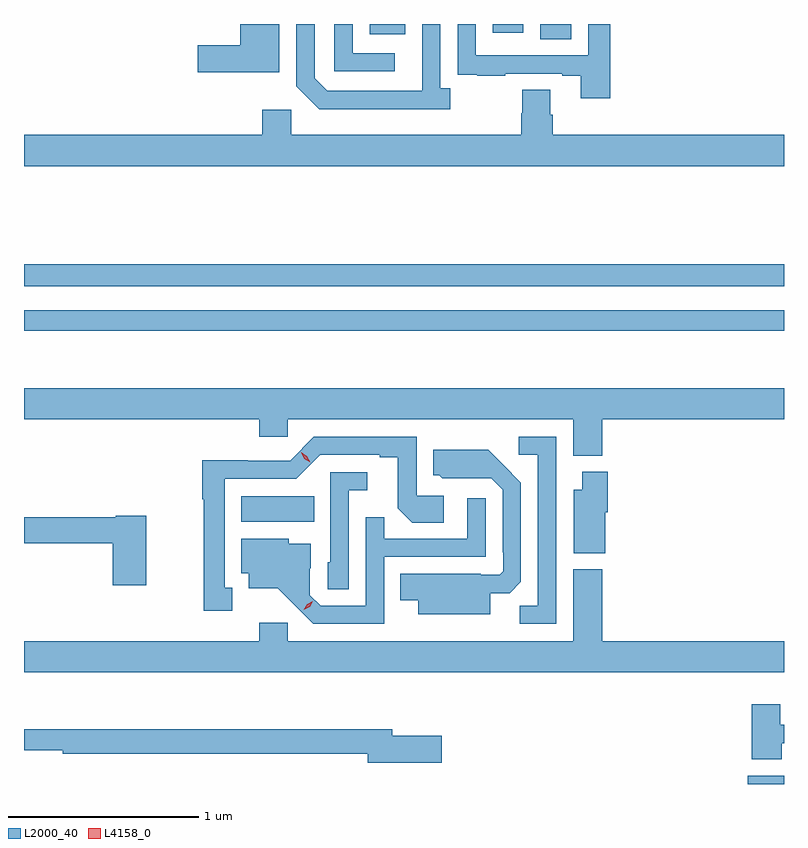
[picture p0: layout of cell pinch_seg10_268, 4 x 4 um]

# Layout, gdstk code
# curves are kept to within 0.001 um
import gdstk
lib = gdstk.Library(unit=1e-6, precision=1e-09)
def R(c, l, rs):  # rectangles x0, y0, x1, y1
    for r in rs: c.add(gdstk.rectangle(r[:2], r[2:], *l))
def P(c, l, *ps):  # polygons
    for p in ps: c.add(gdstk.Polygon(p, *l))
L2000_40 = (2000, 40)
L4158_0 = (4158, 0)

pinch_seg10_268 = lib.new_cell('pinch_seg10_268')
R(pinch_seg10_268, L2000_40, [(506.336,1310.384,506.528,1310.428), (503.672,1311.764,504.056,1311.898), (502.528,1312.77,506.528,1312.878), (502.528,1313.004,506.528,1313.12), (505.244,1314.304,505.408,1314.384), (504.347,1314.329,504.535,1314.384), (504.995,1314.339,505.156,1314.384)])
P(pinch_seg10_268, L2000_40, [(504.478,1314.231),(504.258,1314.231),(504.258,1314.384),(504.162,1314.384),(504.162,1314.135),(504.478,1314.135)],
  [(505.613,1314.384),(505.497,1314.384),(505.497,1314.219),(504.906,1314.219),(504.906,1314.384),(504.81,1314.384),(504.81,1314.226),(504.811,1314.226),(504.811,1314.117),(504.913,1314.117),(504.913,1314.111),(505.061,1314.111),(505.061,1314.123),(505.361,1314.123),(505.361,1314.111),(505.457,1314.111),(505.457,1313.994),(505.613,1313.994)],
  [(504.772,1314.046),(504.72,1314.046),(504.72,1314.384),(504.624,1314.384),(504.623,1314.033),(504.123,1314.033),(504.057,1314.099),(504.057,1314.384),(503.961,1314.384),(503.961,1314.057),(504.082,1313.936),(504.772,1313.936)],
  [(503.872,1314.384),(503.665,1314.384),(503.665,1314.272),(503.442,1314.272),(503.442,1314.13),(503.872,1314.13)],
  [(506.528,1313.8),(505.31,1313.8),(505.31,1313.906),(505.297,1313.906),(505.297,1314.038),(505.15,1314.038),(505.15,1313.913),(505.145,1313.913),(505.145,1313.8),(503.934,1313.8),(503.934,1313.932),(503.783,1313.932),(503.783,1313.8),(502.528,1313.8),(502.528,1313.636),(506.528,1313.636)],
  [(505.571,1312.304),(506.528,1312.304),(506.528,1312.468),(502.528,1312.468),(502.528,1312.304),(503.765,1312.304),(503.765,1312.211),(503.916,1312.211),(503.916,1312.304),(505.418,1312.304),(505.418,1312.112),(505.571,1312.112)],
  [(505.329,1312.212),(505.131,1312.212),(505.131,1312.116),(505.233,1312.116),(505.233,1311.323),(505.138,1311.323),(505.138,1311.228),(505.329,1311.228)],
  [(503.623,1311.417),(503.584,1311.417),(503.584,1311.99),(503.961,1311.99),(504.087,1312.116),(504.401,1312.116),(504.401,1312.104),(504.495,1312.104),(504.495,1311.836),(504.571,1311.76),(504.736,1311.76),(504.736,1311.9),(504.594,1311.9),(504.594,1312.212),(504.054,1312.212),(503.928,1312.086),(503.706,1312.086),(503.706,1312.088),(503.466,1312.088),(503.466,1311.883),(503.473,1311.883),(503.473,1311.297),(503.623,1311.297)],
  [(504.982,1311.389),(505.084,1311.389),(505.143,1311.448),(505.143,1311.97),(504.971,1312.144),(504.683,1312.144),(504.683,1312.008),(504.714,1312.008),(504.73,1311.992),(504.987,1311.993),(505.047,1311.933),(505.047,1311.604),(505.05,1311.604),(505.05,1311.504),(505.032,1311.486),(504.932,1311.486),(504.932,1311.49),(504.508,1311.49),(504.508,1311.35),(504.602,1311.35),(504.602,1311.278),(504.982,1311.278)],
  [(505.588,1311.813),(505.601,1311.813),(505.601,1312.027),(505.466,1312.027),(505.466,1311.934),(505.421,1311.934),(505.421,1311.599),(505.588,1311.599)],
  [(504.237,1311.929),(504.334,1311.929),(504.334,1312.026),(504.141,1312.026),(504.141,1311.552),(504.126,1311.552),(504.126,1311.409),(504.237,1311.409)],
  [(504.423,1311.579),(504.957,1311.579),(504.957,1311.889),(504.861,1311.889),(504.861,1311.675),(504.425,1311.675),(504.425,1311.788),(504.327,1311.788),(504.327,1311.321),(504.09,1311.321),(504.033,1311.378),(504.033,1311.52),(504.037,1311.52),(504.037,1311.649),(503.922,1311.649),(503.922,1311.676),(503.672,1311.676),(503.672,1311.492),(503.711,1311.492),(503.711,1311.413),(503.863,1311.413),(504.05,1311.228),(504.423,1311.228)],
  [(503.172,1311.796),(503.01,1311.796),(503.01,1311.788),(502.528,1311.788),(502.528,1311.652),(502.994,1311.652),(502.994,1311.429),(503.172,1311.429)],
  [(506.528,1311.136),(505.571,1311.136),(505.571,1311.514),(505.418,1311.514),(505.418,1311.136),(503.916,1311.136),(503.916,1311.232),(503.765,1311.232),(503.765,1311.136),(502.528,1311.136),(502.528,1310.972),(506.528,1310.972)],
  [(506.517,1310.598),(506.528,1310.598),(506.528,1310.697),(506.509,1310.697),(506.509,1310.803),(506.357,1310.803),(506.357,1310.513),(506.517,1310.513)],
  [(504.727,1310.637),(504.466,1310.637),(504.466,1310.671),(502.528,1310.671),(502.528,1310.561),(502.731,1310.561),(502.731,1310.542),(504.338,1310.542),(504.338,1310.495),(504.727,1310.495)])
P(pinch_seg10_268, L4158_0, [(504,1311.301),(504,1311.301),(504.018,1311.331),(504.048,1311.346),(504.049,1311.346),(504.049,1311.346),(504.031,1311.316),(504,1311.301)],
  [(504.034,1312.077),(504.003,1312.096),(503.986,1312.129),(503.986,1312.129),(503.986,1312.129),(504.017,1312.11),(504.035,1312.077),(504.035,1312.077)])

lib.write_gds('pinch_seg10_268.gds')
